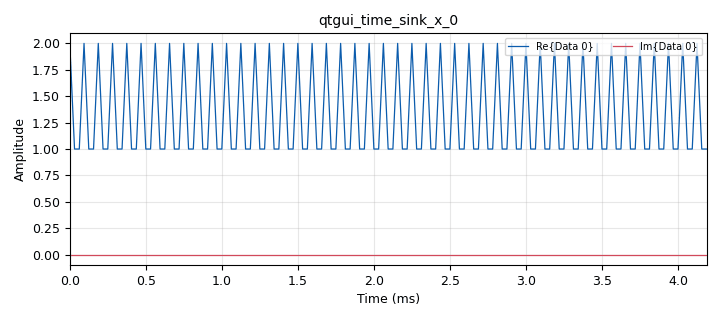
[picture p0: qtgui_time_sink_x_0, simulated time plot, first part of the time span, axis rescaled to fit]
options:
  parameters:
    generate_options: qt_gui
    id: nr_phy
    output_language: python
    title: Not titled yet
  states: {}

blocks:
- name: N_ID1
  id: variable
  parameters:
    value: '4'
  states: {}
- name: N_ID2
  id: variable
  parameters:
    value: '2'
  states: {}
- name: N_ID_CELL
  id: variable
  parameters:
    value: 3 * N_ID1 + N_ID2
  states: {}
- name: b_pairedspec
  id: variable
  parameters:
    value: 'True'
  states: {}
- name: b_sharedspec
  id: variable
  parameters:
    value: 'False'
  states: {}
- name: f
  id: variable
  parameters:
    value: 1e9
  states: {}
- name: fft_size
  id: variable
  parameters:
    value: '256'
  states: {}
- name: mu
  id: variable
  parameters:
    value: '0'
  states: {}
- name: samp_rate
  id: variable
  parameters:
    value: '32000'
  states: {}
- name: scs
  id: variable
  parameters:
    value: 2**mu *15e3
  states: {}
- name: tx
  id: variable
  parameters:
    value: 'True'
  states: {}
- name: blocks_vector_sink_x_0
  id: blocks_vector_sink_x
  parameters:
    type: complex
  states: {}
- name: blocks_vector_source_x_0
  id: blocks_vector_source_x
  parameters:
    repeat: 'True'
    type: complex
    vector: (1,2,1)
  states: {}
- name: epy_module_0
  id: epy_module
  parameters:
    source_code: '# this module will be imported in the into your flowgraph'
  states: {}
- name: qtgui_time_sink_x_0
  id: qtgui_time_sink_x
  parameters:
    size: '1024'
    srate: samp_rate
    type: complex
  states: {}

connections:
- [blocks_vector_source_x_0, '0', qtgui_time_sink_x_0, '0']

metadata:
  file_format: 1
